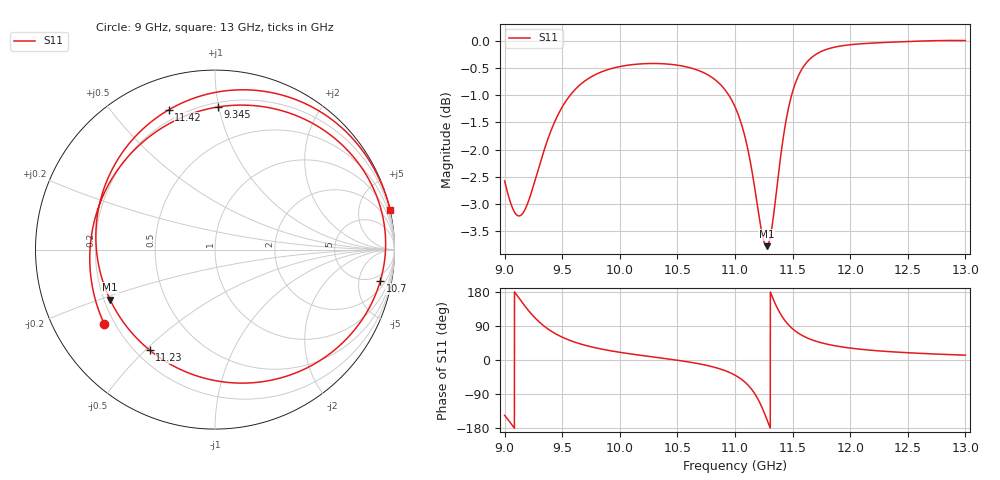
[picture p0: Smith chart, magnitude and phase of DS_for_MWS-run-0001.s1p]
! TOUCHSTONE file generated by CST DESIGN STUDIO
! Date and time: Tue Jan 28 13:43:10 2025
! Project name: C:\Work\MatlabApps\UnitCellOptimizationMatlab\CST\unitcell.cst
! Tree item: Tasks\Sweep1\SPara1\S-Parameters
! Header version: 2024
! Port assignment regex: !\s*Touchstone port\s*([0-9]+)\s*=\s*(CST MWS port|CST DES external port|CST DES block port)\s*(.+)\s* \(\"(.*)\"\)(\s*mode\s*([0-9]+))?.*
! Touchstone port assignment:
! Touchstone port 1 = CST DES external port 1 ("")
# GHz S MA R 50
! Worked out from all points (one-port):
!   4001 points, 9 GHz to 13 GHz, reference 50 ohm
!   lowest |S11| = -3.8 dB at 11.27 GHz (marker M1), VSWR 4.68, Z = 11.2 - j10.7 ohm
!   |S11| at or under -10 dB: nowhere
!   S11 on the Smith chart (normalised r, x): 9 GHz: 0.16, -0.30; 9.345 GHz: 0.23, +0.99; 10.7 GHz: 3, -10; 11.23 GHz: 0.25, -0.52; 11.42 GHz: 0.15, +0.71; 13 GHz: -0.01, +8.98
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9  0.7434 -146.0
9.074  0.7001 -175.3
9.14  0.6914 157.0
9.241  0.7306 118.6
9.345  0.7947 88.9
9.5  0.8693 60.3
9.709  0.9205 38.0
10  0.9468 20.3
10.5  0.9496 -0.6
10.7  0.9376 -10.7
10.876  0.911 -24.1
11  0.8697 -40.0
11.078  0.8228 -56.2
11.147  0.7596 -78.4
11.192  0.7088 -99.2
11.231  0.6683 -122.9
11.274  0.6478 -154.6
11.306  0.6605 -179.8
11.338  0.6958 156.3
11.381  0.76 129.1
11.423  0.8202 108.4
11.5  0.898 82.2
11.586  0.9436 64.3
11.689  0.9695 50.9
11.821  0.9839 40.3
12  0.9916 31.5
12.5  0.9983 19.2
13  1 12.7
